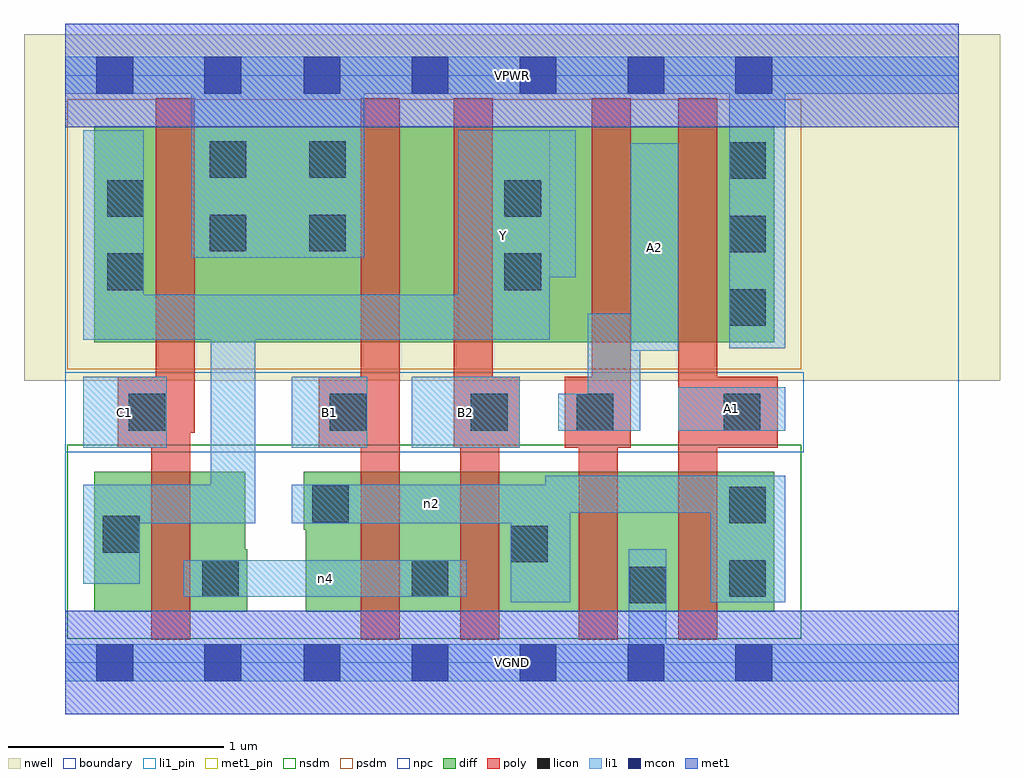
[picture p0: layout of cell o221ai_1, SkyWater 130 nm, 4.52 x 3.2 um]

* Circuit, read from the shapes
.subckt o221ai_1 A1 A2 B1 B2 C1 VGND VPWR Y n2 n4
XM1 n4 C1 Y VSUBS sky130_fd_pr__nfet_01v8 w=0.65 l=0.18
XM2 n4 B1 n2 VSUBS sky130_fd_pr__nfet_01v8 w=0.65 l=0.18
XM3 n2 B2 n4 VSUBS sky130_fd_pr__nfet_01v8 w=0.65 l=0.18
XM4 VGND A2 n2 VSUBS sky130_fd_pr__nfet_01v8 w=0.65 l=0.18
XM5 n2 A1 VGND VSUBS sky130_fd_pr__nfet_01v8 w=0.65 l=0.18
XM6 VPWR C1 Y n1 sky130_fd_pr__pfet_01v8 w=1 l=0.18
XM7 n3 B1 VPWR n1 sky130_fd_pr__pfet_01v8 w=1 l=0.18
XM8 Y B2 n3 n1 sky130_fd_pr__pfet_01v8 w=1 l=0.18
XM9 n5 A2 Y n1 sky130_fd_pr__pfet_01v8 w=1 l=0.18
XM10 VPWR A1 n5 n1 sky130_fd_pr__pfet_01v8 w=1 l=0.18
.ends

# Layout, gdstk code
import gdstk
lib = gdstk.Library(unit=1e-6, precision=1e-09)
def R(c, l, rs):  # rectangles x0, y0, x1, y1
    for r in rs: c.add(gdstk.rectangle(r[:2], r[2:], *l))
def A(c, l, x, y, w, h, nx, ny, dx, dy):  # array of equal rectangles
    R(c, l, [(x+i*dx, y+j*dy, x+i*dx+w, y+j*dy+h) for i in range(nx) for j in range(ny)])
nwell = (64, 20)
diff = (65, 20)
poly = (66, 20)
licon = (66, 44)
li1_pin = (67, 16)
li1 = (67, 20)
mcon = (67, 44)
met1_pin = (68, 16)
met1 = (68, 20)
nsdm = (93, 44)
psdm = (94, 20)
npc = (95, 20)
boundary = (235, 4)

o221ai_1 = lib.new_cell('o221ai_1')
R(o221ai_1, nwell, [(-0.19,1.305,4.33,2.91), (0,1.305,4.14,2.91)])
R(o221ai_1, diff, [(0.135,0.235,0.835,0.885), (0.135,0.235,0.845,0.525), (1.115,0.235,3.285,0.885), (1.105,0.615,3.285,0.885), (0.135,1.485,3.285,2.485)])
R(o221ai_1, poly, [(0.4,0.105,0.58,1.325), (1.37,0.105,1.55,2.615), (1.83,0.105,2.01,1.325), (2.38,0.105,2.56,1.325), (2.84,0.105,3.02,2.615), (0.245,0.995,0.58,1.325), (1.175,0.995,1.55,1.325), (1.8,0.995,1.98,2.615), (1.8,0.995,2.105,1.325), (2.315,0.995,2.62,1.325), (2.44,0.995,2.62,2.615), (2.84,0.995,3.3,1.325), (0.42,1.065,0.6,2.615)])
A(o221ai_1, licon, 3.075, 1.56, 0.17, 0.17, 1, 3, 0, 0.34)
R(o221ai_1, licon, [(2.615,0.275,2.785,0.445), (0.635,0.305,0.805,0.475), (1.605,0.305,1.775,0.475), (3.075,0.305,3.245,0.475), (2.065,0.465,2.235,0.635), (0.175,0.51,0.345,0.68), (3.075,0.645,3.245,0.815), (1.145,0.65,1.315,0.82), (0.295,1.075,0.465,1.245), (1.225,1.075,1.395,1.245), (1.88,1.075,2.05,1.245), (2.37,1.075,2.54,1.245), (3.05,1.075,3.22,1.245), (0.195,1.725,0.365,1.895), (2.035,1.725,2.205,1.895), (0.67,1.905,0.84,2.075), (1.13,1.905,1.3,2.075), (0.195,2.065,0.365,2.235), (2.035,2.065,2.205,2.235), (0.67,2.245,0.84,2.415), (1.13,2.245,1.3,2.415)])
R(o221ai_1, li1_pin, [(0.085,0.995,0.47,1.325), (1.05,0.995,1.4,1.325), (1.605,0.995,2.105,1.325), (2.84,1.075,3.335,1.275), (2.62,1.445,2.84,2.405), (1.82,1.495,2.245,2.465)])
R(o221ai_1, li1, [(0,-0.085,4.14,0.085), (2.61,-0.085,2.785,0.525), (2.065,0.28,2.34,0.825), (2.99,0.28,3.335,0.865), (0.55,0.305,1.86,0.475), (0.085,0.365,0.345,0.825), (0.085,0.645,0.88,0.825), (0.675,0.645,0.88,1.705), (1.05,0.645,2.34,0.825), (2.225,0.695,3.335,0.865), (0.085,0.995,0.47,1.325), (1.05,0.995,1.4,1.325), (1.605,0.995,2.105,1.325), (2.285,1.075,2.665,1.245), (2.42,1.075,2.665,1.615), (2.84,1.075,3.335,1.275), (2.62,1.445,2.84,2.405), (3.075,1.455,3.335,2.805), (0.085,1.495,2.245,1.705), (0.085,1.495,0.365,2.465), (1.82,1.495,2.245,2.465), (1.82,1.785,2.365,2.465), (0.585,1.875,1.385,2.805), (0,2.635,4.14,2.805)])
A(o221ai_1, mcon, 1.105, -0.085, 0.17, 0.17, 5, 2, 0.5, 2.72)
R(o221ai_1, mcon, [(0.145,-0.085,0.315,0.085), (0.645,-0.085,0.815,0.085), (0.145,2.635,0.315,2.805), (0.645,2.635,0.815,2.805)])
R(o221ai_1, met1_pin, [(0,-0.24,4.14,0.24), (0,2.48,4.14,2.96)])
R(o221ai_1, met1, [(0,-0.24,4.14,0.24), (0,2.48,4.14,2.96)])
R(o221ai_1, nsdm, [(0.01,0.11,3.41,1.01)])
R(o221ai_1, psdm, [(0.01,1.36,3.41,2.61)])
R(o221ai_1, npc, [(0,0.975,3.42,1.345)])
R(o221ai_1, boundary, [(0,0,4.14,2.72)])
o221ai_1.add(gdstk.Label('A1', (3.087,1.175), layer=67, texttype=5))
o221ai_1.add(gdstk.Label('A2', (2.73,1.925), layer=67, texttype=5))
o221ai_1.add(gdstk.Label('B1', (1.225,1.16), layer=67, texttype=5))
o221ai_1.add(gdstk.Label('B2', (1.855,1.16), layer=67, texttype=5))
o221ai_1.add(gdstk.Label('C1', (0.277,1.16), layer=67, texttype=5))
o221ai_1.add(gdstk.Label('Y', (2.032,1.98), layer=67, texttype=5))
o221ai_1.add(gdstk.Label('n4', (1.205,0.39), layer=67, texttype=5))
o221ai_1.add(gdstk.Label('n2', (1.695,0.735), layer=67, texttype=5))
o221ai_1.add(gdstk.Label('VPWR', (2.07,2.72), layer=68, texttype=5))
o221ai_1.add(gdstk.Label('VGND', (2.07,0), layer=68, texttype=5))
o221ai_1.add(gdstk.Label('A1', (3.087,1.175), layer=67, texttype=16))
o221ai_1.add(gdstk.Label('A2', (2.73,1.925), layer=67, texttype=16))
o221ai_1.add(gdstk.Label('B1', (1.225,1.16), layer=67, texttype=16))
o221ai_1.add(gdstk.Label('B2', (1.855,1.16), layer=67, texttype=16))
o221ai_1.add(gdstk.Label('C1', (0.277,1.16), layer=67, texttype=16))
o221ai_1.add(gdstk.Label('Y', (2.032,1.98), layer=67, texttype=16))
o221ai_1.add(gdstk.Label('VPWR', (2.07,2.72), layer=68, texttype=16))
o221ai_1.add(gdstk.Label('VGND', (2.07,0), layer=68, texttype=16))

lib.write_gds('o221ai_1.gds')
